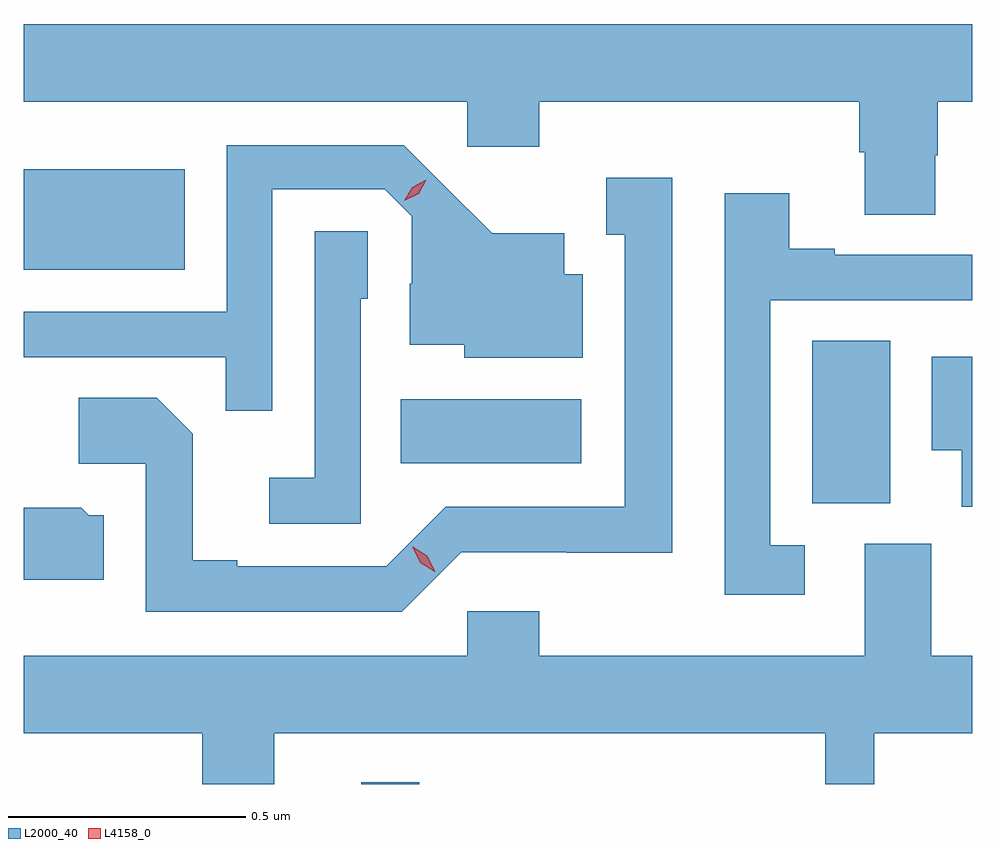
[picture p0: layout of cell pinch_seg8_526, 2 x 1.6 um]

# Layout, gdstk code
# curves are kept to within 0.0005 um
import gdstk
lib = gdstk.Library(unit=1e-6, precision=1e-09)
def R(c, l, rs):  # rectangles x0, y0, x1, y1
    for r in rs: c.add(gdstk.rectangle(r[:2], r[2:], *l))
def P(c, l, *ps):  # polygons
    for p in ps: c.add(gdstk.Polygon(p, *l))
L2000_40 = (2000, 40)
L4158_0 = (4158, 0)

pinch_seg8_526 = lib.new_cell('pinch_seg8_526')
R(pinch_seg8_526, L2000_40, [(191.897,1115.061,192.019,1115.065), (192.848,1115.653,193.012,1115.996), (191.98,1115.738,192.361,1115.872), (191.185,1116.146,191.524,1116.358)])
P(pinch_seg8_526, L2000_40, [(193.107,1116.387),(193.112,1116.387),(193.112,1116.5),(193.185,1116.5),(193.185,1116.664),(191.185,1116.664),(191.185,1116.5),(192.12,1116.5),(192.12,1116.405),(192.272,1116.405),(192.272,1116.5),(192.947,1116.5),(192.947,1116.394),(192.959,1116.394),(192.959,1116.262),(193.107,1116.262)],
  [(191.709,1116.315),(191.946,1116.315),(192.003,1116.258),(192.003,1116.116),(191.999,1116.116),(191.999,1115.987),(192.114,1115.987),(192.114,1115.96),(192.364,1115.96),(192.364,1116.136),(192.325,1116.136),(192.325,1116.223),(192.173,1116.223),(191.986,1116.408),(191.613,1116.408),(191.613,1116.057),(191.185,1116.057),(191.185,1115.961),(191.611,1115.961),(191.611,1115.848),(191.709,1115.848)],
  [(192.108,1115.55),(192.33,1115.55),(192.33,1115.549),(192.553,1115.549),(192.553,1116.34),(192.413,1116.34),(192.413,1116.219),(192.452,1116.219),(192.452,1115.646),(192.075,1115.646),(191.949,1115.52),(191.635,1115.52),(191.635,1115.533),(191.541,1115.533),(191.541,1115.8),(191.465,1115.876),(191.301,1115.876),(191.301,1115.736),(191.442,1115.736),(191.442,1115.424),(191.982,1115.424)],
  [(192.832,1115.565),(192.759,1115.565),(192.759,1116.081),(193.185,1116.081),(193.185,1116.177),(192.895,1116.177),(192.895,1116.19),(192.799,1116.19),(192.799,1116.307),(192.663,1116.307),(192.663,1115.46),(192.832,1115.46)],
  [(191.895,1116.084),(191.91,1116.084),(191.91,1116.227),(191.799,1116.227),(191.799,1115.707),(191.703,1115.707),(191.703,1115.61),(191.895,1115.61)],
  [(193.185,1115.962),(193.1,1115.962),(193.1,1115.765),(193.163,1115.765),(193.163,1115.646),(193.185,1115.646)],
  [(191.353,1115.628),(191.322,1115.628),(191.306,1115.644),(191.185,1115.644),(191.185,1115.492),(191.353,1115.492)],
  [(191.713,1115.168),(192.875,1115.168),(192.875,1115.061),(192.979,1115.061),(192.979,1115.168),(193.185,1115.168),(193.185,1115.332),(193.099,1115.332),(193.099,1115.568),(192.959,1115.568),(192.959,1115.332),(192.272,1115.332),(192.272,1115.425),(192.12,1115.425),(192.12,1115.332),(191.185,1115.332),(191.185,1115.168),(191.561,1115.168),(191.561,1115.061),(191.713,1115.061)])
P(pinch_seg8_526, L4158_0, [(192.052,1115.509),(192.021,1115.528),(192.004,1115.561),(192.004,1115.561),(192.005,1115.561),(192.036,1115.542),(192.053,1115.509),(192.053,1115.509)],
  [(191.987,1116.291),(191.987,1116.291),(192.004,1116.32),(192.034,1116.336),(192.034,1116.336),(192.034,1116.336),(192.018,1116.306),(191.987,1116.291)])

lib.write_gds('pinch_seg8_526.gds')
